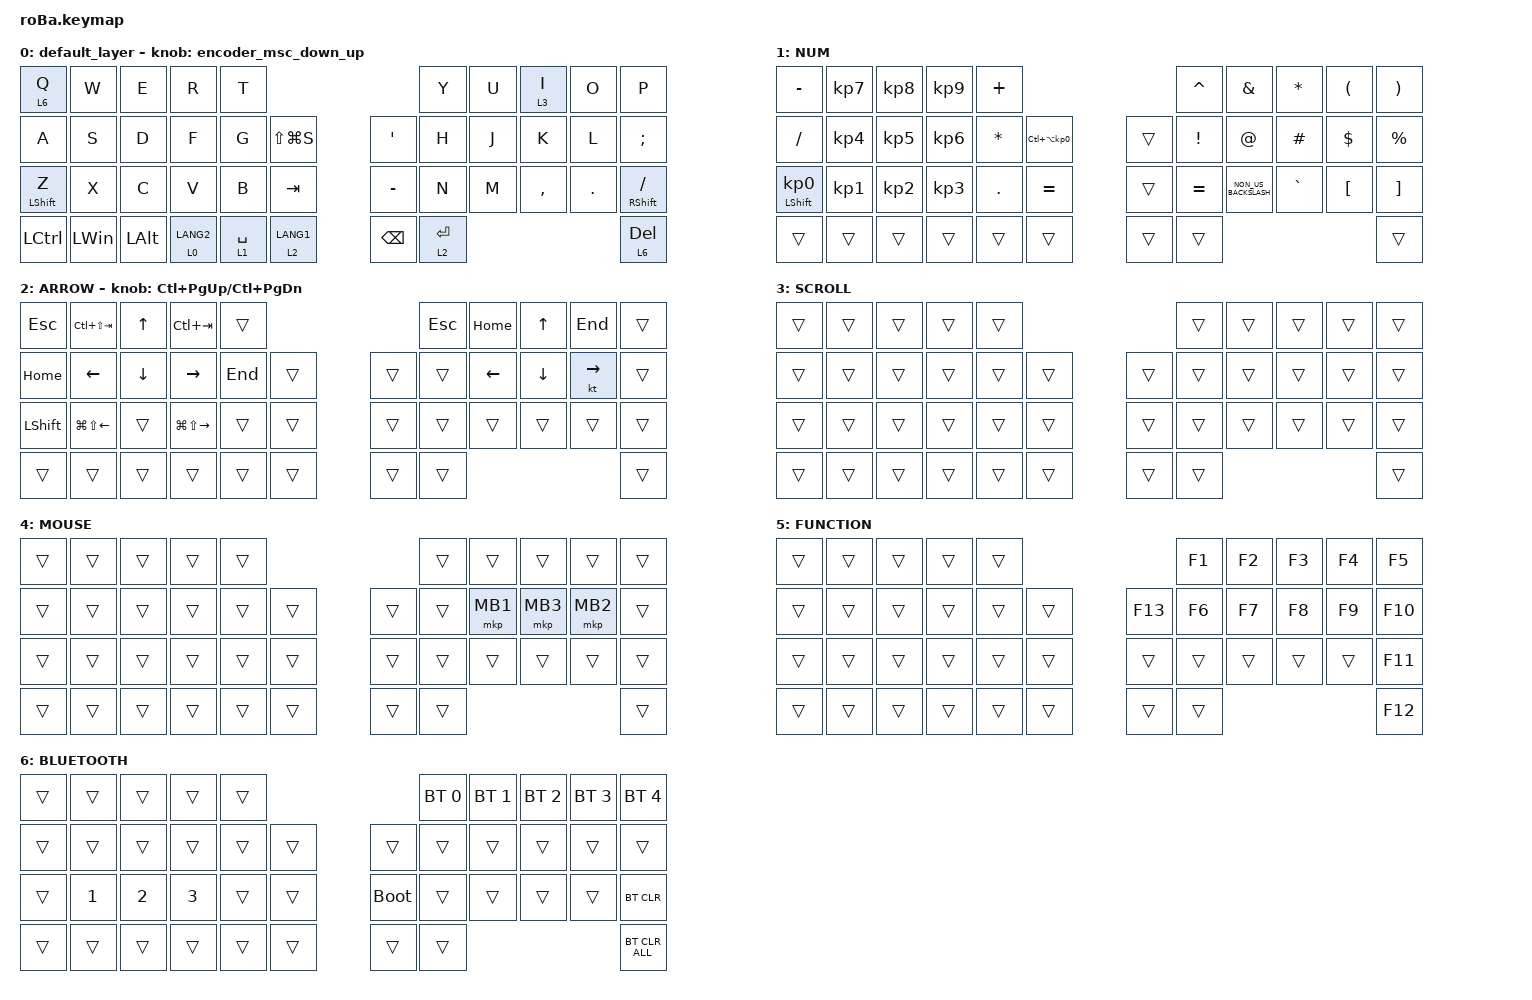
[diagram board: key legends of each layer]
#include <behaviors.dtsi>
#include <dt-bindings/zmk/bt.h>
#include <dt-bindings/zmk/keys.h>
#include <dt-bindings/zmk/pointing.h>

#define ZMK_POINTING_DEFAULT_SCRL_VAL 80

&mt {
    flavor = "balanced";
    quick-tap-ms = <0>;
};

&trackball {
    automouse-layer = <4>;
    scroll-layers = <5>;

    // arrows {
    //     layers = <3>;
    //     bindings =
    //         <&kp RIGHT_ARROW>,
    //         <&kp LEFT_ARROW>,
    //         <&kp UP_ARROW>,
    //         <&kp DOWN_ARROW>;
    //     tick = <10>;
    //     wait-ms = <5>;
    //     tap-ms = <5>;
    // };
};

/ {
    combos {
        compatible = "zmk,combos";

        tab {
            bindings = <&kp TAB>;
            key-positions = <11 12>;
        };

        shift_tab {
            bindings = <&kp LS(TAB)>;
            key-positions = <12 13>;
        };

        muhennkann {
            bindings = <&to_layer_0 INT_MUHENKAN>;
            key-positions = <11 10>;
        };

        double_quotation {
            bindings = <&kp DOUBLE_QUOTES>;
            key-positions = <20 21>;
        };

        eq {
            bindings = <&kp EQUAL>;
            key-positions = <24 25>;
        };
    };

    macros {
        to_layer_0: to_layer_0 {
            compatible = "zmk,behavior-macro-one-param";
            #binding-cells = <1>;
            bindings = <&to 0 &macro_param_1to1 &kp MACRO_PLACEHOLDER>;
            label = "TO_LAYER_0";
        };
    };

    behaviors {
        encoder_msc_down_up: encoder_msc_down_up {
            compatible = "zmk,behavior-sensor-rotate";
            label = "ENCODER_MSC_DOWN_UP";
            #sensor-binding-cells = <0>;
            bindings = <&msc SCRL_DOWN>, <&msc SCRL_UP>;

            tap-ms = <20>;
        };

        lt_to_layer_0: lt_to_layer_0 {
            compatible = "zmk,behavior-hold-tap";
            label = "LAYER_TAP_TO_0";
            bindings = <&mo>, <&to_layer_0>;

            #binding-cells = <2>;
            tapping-term-ms = <200>;
        };
    };

    keymap {
        compatible = "zmk,keymap";

        default_layer {
            bindings = <
&lt 6 Q           &kp W         &kp E         &kp R                   &kp T                                                      &kp Y        &kp U  &lt 3 I    &kp O    &kp P
&kp A             &kp S         &kp D         &kp F                   &kp G        &kp LS(LG(S))               &kp SINGLE_QUOTE  &kp H        &kp J  &kp K      &kp L    &kp SEMICOLON
&mt LEFT_SHIFT Z  &kp X         &kp C         &kp V                   &kp B        &kp TAB                     &kp MINUS         &kp N        &kp M  &kp COMMA  &kp DOT  &mt RIGHT_SHIFT SLASH
&kp LCTRL         &kp LEFT_WIN  &kp LEFT_ALT  &lt_to_layer_0 0 LANG2  &lt 1 SPACE  &lt_to_layer_0 2 LANG1      &kp BACKSPACE     &lt 2 ENTER                             &lt 6 DEL
            >;

            sensor-bindings = <&encoder_msc_down_up>;
        };

        NUM {
            bindings = <
&kp MINUS                   &kp KP_NUMBER_7  &kp KP_NUMBER_8  &kp KP_NUMBER_9  &kp PLUS                                           &kp CARET        &kp AMPERSAND         &kp ASTERISK  &kp LEFT_PARENTHESIS  &kp RIGHT_PARENTHESIS
&kp SLASH                   &kp KP_NUMBER_4  &kp KP_NUMBER_5  &kp KP_NUMBER_6  &kp ASTERISK  &kp LC(LA(KP_NUMBER_0))      &trans  &kp EXCLAMATION  &kp AT_SIGN           &kp HASH      &kp DOLLAR            &kp PERCENT
&mt LEFT_SHIFT KP_NUMBER_0  &kp KP_NUMBER_1  &kp KP_NUMBER_2  &kp KP_NUMBER_3  &kp PERIOD    &kp EQUAL                    &trans  &kp EQUAL        &kp NON_US_BACKSLASH  &kp GRAVE     &kp LEFT_BRACKET      &kp RIGHT_BRACKET
&trans                      &trans           &trans           &trans           &trans        &trans                       &trans  &trans                                                                     &trans
            >;
        };

        ARROW {
            bindings = <
&kp ESCAPE      &kp LC(LS(TAB))         &kp UP_ARROW    &kp LC(TAB)              &trans                       &kp ESCAPE  &kp HOME        &kp UP_ARROW    &kp END          &trans
&kp HOME        &kp LEFT_ARROW          &kp DOWN_ARROW  &kp RIGHT_ARROW          &kp END  &trans      &trans  &trans      &kp LEFT_ARROW  &kp DOWN_ARROW  &kt RIGHT_ARROW  &trans
&kp LEFT_SHIFT  &kp LG(LS(LEFT_ARROW))  &trans          &kp LG(LS(RIGHT_ARROW))  &trans   &trans      &trans  &trans      &trans          &trans          &trans           &trans
&trans          &trans                  &trans          &trans                   &trans   &trans      &trans  &trans                                                       &trans
            >;

            sensor-bindings = <&inc_dec_kp LC(PAGE_UP) LC(PAGE_DOWN)>;
        };

        SCROLL {
            bindings = <
&trans  &trans  &trans  &trans  &trans                      &trans  &trans  &trans  &trans  &trans
&trans  &trans  &trans  &trans  &trans  &trans      &trans  &trans  &trans  &trans  &trans  &trans
&trans  &trans  &trans  &trans  &trans  &trans      &trans  &trans  &trans  &trans  &trans  &trans
&trans  &trans  &trans  &trans  &trans  &trans      &trans  &trans                          &trans
            >;
        };

        MOUSE {
            bindings = <
&trans  &trans  &trans  &trans  &trans                      &trans  &trans    &trans    &trans    &trans
&trans  &trans  &trans  &trans  &trans  &trans      &trans  &trans  &mkp MB1  &mkp MB3  &mkp MB2  &trans
&trans  &trans  &trans  &trans  &trans  &trans      &trans  &trans  &trans    &trans    &trans    &trans
&trans  &trans  &trans  &trans  &trans  &trans      &trans  &trans                                &trans
            >;
        };

        FUNCTION {
            bindings = <
&trans  &trans  &trans  &trans  &trans                       &kp F1  &kp F2  &kp F3  &kp F4  &kp F5
&trans  &trans  &trans  &trans  &trans  &trans      &kp F13  &kp F6  &kp F7  &kp F8  &kp F9  &kp F10
&trans  &trans  &trans  &trans  &trans  &trans      &trans   &trans  &trans  &trans  &trans  &kp F11
&trans  &trans  &trans  &trans  &trans  &trans      &trans   &trans                          &kp F12
            >;
        };

        BLUETOOTH {
            bindings = <
&trans  &trans        &trans        &trans        &trans                           &bt BT_SEL 0  &bt BT_SEL 1  &bt BT_SEL 2  &bt BT_SEL 3  &bt BT_SEL 4
&trans  &trans        &trans        &trans        &trans  &trans      &trans       &trans        &trans        &trans        &trans        &trans
&trans  &kp NUMBER_1  &kp NUMBER_2  &kp NUMBER_3  &trans  &trans      &bootloader  &trans        &trans        &trans        &trans        &bt BT_CLR
&trans  &trans        &trans        &trans        &trans  &trans      &trans       &trans                                                  &bt BT_CLR_ALL
            >;
        };
    };
};
